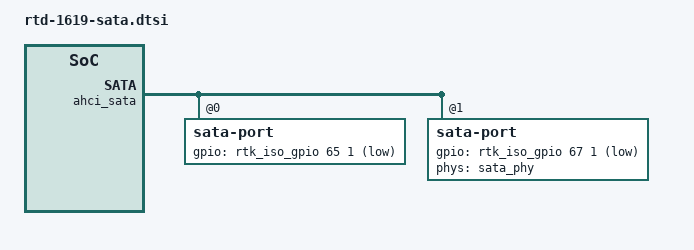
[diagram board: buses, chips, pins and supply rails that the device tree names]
#include <dt-bindings/reset/rtk,reset-rtd16xx.h>
#include <dt-bindings/clock/rtk,clock-rtd16xx.h>
/ {
	/include/ "rtd-16xx-sata.dtsi"

	sata_phy: sata_phy@9803FF60 {
		clocks = <&clk_en_4 CLK_EN_SATA_WRAP_SYS>,
			<&clk_en_4 CLK_EN_SATA_WRAP_SYSH>;
		resets = <&rst4 RSTN_SATA_WRAP>;
/*		sata-phy@0 {
			reg = <0>;
			resets = <&rst4 RSTN_SATA_MDIO0>,
				<&rst4 RSTN_SATA_PHY_POW0>;
			spread-spectrum = <0>;
			phy-param = <0x70000211>, <0x70004211>, <0x70008211>,
				<0x336a0511>, <0x336a4511>, <0x336a8511>,
				<0xa9040b11>, <0xa9044b11>, <0xa9048b11>,
				<0x500b1411>, <0x500b5411>, <0x500b9411>,
				<0x77771511>, <0x77775511>, <0x77779511>,
				<0x00231711>, <0x00235711>, <0x00239711>,
				<0x00632211>, <0x00636211>, <0x0063a211>,
				<0x27680311>, <0x27684311>, <0x27688311>;
			tx-driving = <2>;
			
			tx-driving-tbl = // user can define tx driving here //
					<0x94a72011>, <0x94a76011>, <0x94a7a011>,
					<0x587a2111>, <0x587a6111>, <0x587aa111>;
			/delete-property/ tx-driving-tbl;
		};*/
		sata-phy@1 {
			reg = <1>;
			resets = <&rst4 RSTN_SATA_MDIO1>,
				<&rst4 RSTN_SATA_PHY_POW1>;
			spread-spectrum = <0>;
			phy-param = <0x70000211>, <0x70004211>, <0x70008211>,
				<0x336a0511>, <0x336a4511>, <0x336a8511>,
				<0xa9040b11>, <0xa9044b11>, <0xa9048b11>,
				<0x500b1411>, <0x500b5411>, <0x500b9411>,
				<0x77771511>, <0x77775511>, <0x77779511>,
				<0x00231711>, <0x00235711>, <0x00239711>,
				<0x00632211>, <0x00636211>, <0x0063a211>,
				<0x27680311>, <0x27684311>, <0x27688311>;
	/*		/delete-property/ phy-param;*/
			tx-driving = <2>;
			
			tx-driving-tbl = // user can define tx driving here //
					<0x94a72011>, <0x94a76011>, <0x94a7a011>,
					<0x587a2111>, <0x587a6111>, <0x587aa111>;
			/delete-property/ tx-driving-tbl;
		};
	};

	ahci_sata: sata@9803F000 {
		clocks = <&clk_en_4 CLK_EN_SATA_MAC_SYSH>;
		resets = <&rst4 RSTN_SATA_MAC_COM>;
		sata-port@0 {
			reg = <0>;
	/*		phys = <&sata_phy 0>;*/
			resets = <&rst4 RSTN_SATA_MAC_P0>;
			gpios = <&rtk_iso_gpio 65 1 1>;
		};
		sata-port@1 {
			reg = <1>;
			phys = <&sata_phy 1>;
			resets = <&rst4 RSTN_SATA_MAC_P1>;
			gpios = <&rtk_iso_gpio 67 1 1>;
		};
	};
};
